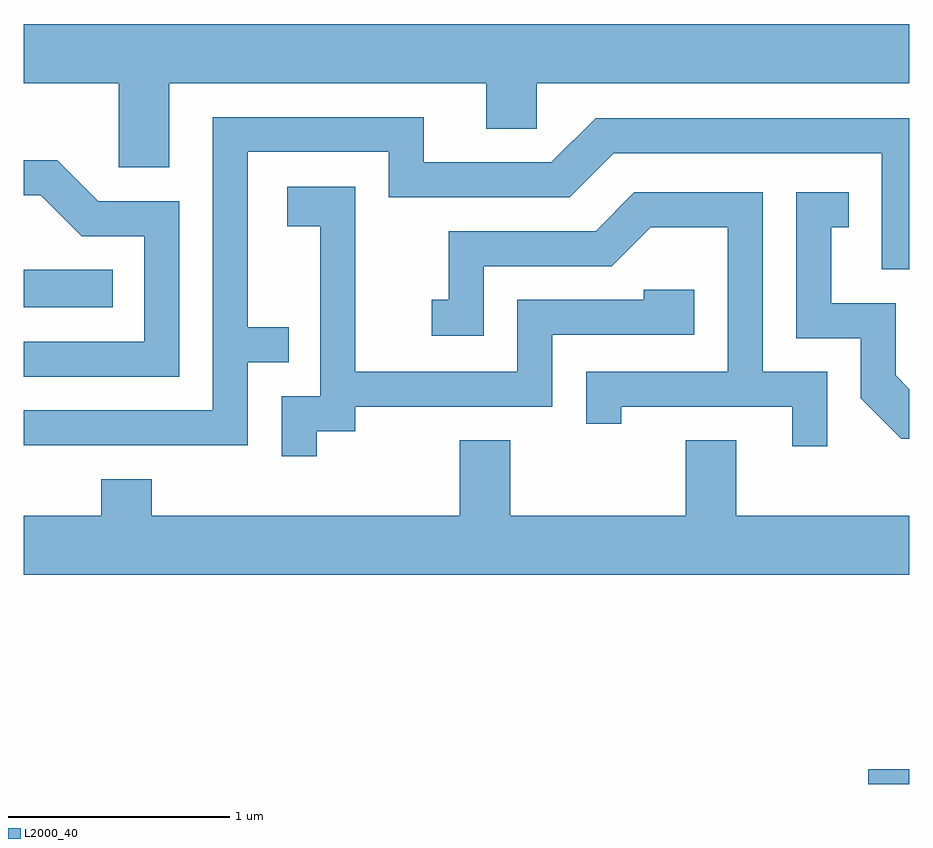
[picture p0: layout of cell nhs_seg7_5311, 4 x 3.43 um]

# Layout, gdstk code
import gdstk
lib = gdstk.Library(unit=1e-6, precision=1e-09)
def R(c, l, rs):  # rectangles x0, y0, x1, y1
    for r in rs: c.add(gdstk.rectangle(r[:2], r[2:], *l))
def P(c, l, *ps):  # polygons
    for p in ps: c.add(gdstk.Polygon(p, *l))
L2000_40 = (2000, 40)

nhs_seg7_5311 = lib.new_cell('nhs_seg7_5311')
R(nhs_seg7_5311, L2000_40, [(351.426,1722.252,351.611,1722.319), (347.611,1724.406,348.013,1724.574)])
P(nhs_seg7_5311, L2000_40, [(348.269,1725.416),(349.701,1725.416),(349.701,1725.211),(349.929,1725.211),(349.929,1725.416),(351.611,1725.416),(351.611,1725.684),(347.611,1725.684),(347.611,1725.416),(348.041,1725.416),(348.041,1725.036),(348.269,1725.036)],
  [(348.624,1724.156),(348.808,1724.156),(348.808,1724.314),(348.624,1724.314),(348.624,1725.106),(349.261,1725.106),(349.261,1724.901),(350.077,1724.901),(350.277,1725.101),(351.486,1725.101),(351.486,1724.576),(351.611,1724.576),(351.611,1725.259),(350.194,1725.259),(349.994,1725.059),(349.419,1725.059),(349.419,1725.264),(348.466,1725.264),(348.466,1723.939),(347.611,1723.939),(347.611,1723.781),(348.624,1723.781)],
  [(348.314,1724.884),(347.947,1724.884),(347.762,1725.069),(347.611,1725.069),(347.611,1724.911),(347.689,1724.911),(347.874,1724.726),(348.156,1724.726),(348.156,1724.249),(347.611,1724.249),(347.611,1724.091),(348.314,1724.091)],
  [(348.934,1723.846),(349.109,1723.846),(349.109,1723.956),(349.999,1723.956),(349.999,1724.281),(350.639,1724.281),(350.639,1724.484),(350.411,1724.484),(350.411,1724.439),(349.841,1724.439),(349.841,1724.114),(349.109,1724.114),(349.109,1724.949),(348.801,1724.949),(348.801,1724.771),(348.951,1724.771),(348.951,1724.004),(348.776,1724.004),(348.776,1723.733),(348.934,1723.733)],
  [(351.239,1724.114),(350.949,1724.114),(350.949,1724.924),(350.369,1724.924),(350.194,1724.749),(349.531,1724.749),(349.531,1724.439),(349.453,1724.439),(349.453,1724.276),(349.689,1724.276),(349.689,1724.591),(350.267,1724.591),(350.442,1724.766),(350.791,1724.766),(350.791,1724.114),(350.151,1724.114),(350.151,1723.878),(350.309,1723.878),(350.309,1723.956),(351.081,1723.956),(351.081,1723.778),(351.239,1723.778)],
  [(351.611,1724.035),(351.549,1724.097),(351.549,1724.424),(351.259,1724.424),(351.259,1724.766),(351.338,1724.766),(351.338,1724.924),(351.101,1724.924),(351.101,1724.266),(351.391,1724.266),(351.391,1723.994),(351.574,1723.811),(351.611,1723.811)],
  [(351.611,1723.464),(350.829,1723.464),(350.829,1723.804),(350.601,1723.804),(350.601,1723.464),(349.809,1723.464),(349.809,1723.804),(349.581,1723.804),(349.581,1723.464),(348.189,1723.464),(348.189,1723.629),(347.961,1723.629),(347.961,1723.464),(347.611,1723.464),(347.611,1723.196),(351.611,1723.196)])

lib.write_gds('nhs_seg7_5311.gds')
